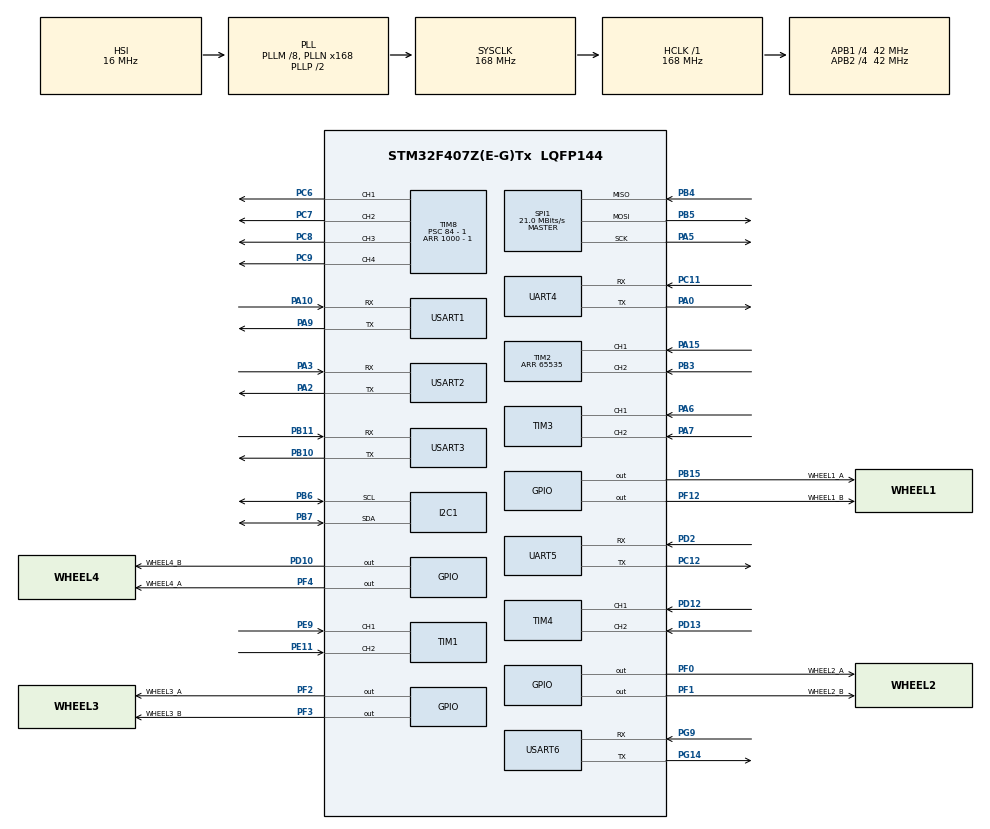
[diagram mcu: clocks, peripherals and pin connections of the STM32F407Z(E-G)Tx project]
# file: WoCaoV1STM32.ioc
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Mcu.Family=STM32F4
Mcu.Name=STM32F407Z(E-G)Tx
Mcu.Package=LQFP144
NVIC.PriorityGroup=NVIC_PRIORITYGROUP_4
NVIC.TIM6_DAC_IRQn=true\:0\:0\:false\:false\:true\:true\:true
NVIC.USART1_IRQn=true\:0\:0\:false\:false\:true\:true\:true
PA0-WKUP.Mode=Asynchronous
PA0-WKUP.Signal=UART4_TX
PA10.Mode=Asynchronous
PA10.Signal=USART1_RX
PA13.Mode=Serial_Wire
PA13.Signal=SYS_JTMS-SWDIO
PA14.Mode=Serial_Wire
PA14.Signal=SYS_JTCK-SWCLK
PA15.Signal=S_TIM2_CH1_ETR
PA2.Mode=Asynchronous
PA2.Signal=USART2_TX
PA3.Mode=Asynchronous
PA3.Signal=USART2_RX
PA5.Mode=Full_Duplex_Master
PA5.Signal=SPI1_SCK
PA6.Signal=S_TIM3_CH1
PA7.Signal=S_TIM3_CH2
PA9.Mode=Asynchronous
PA9.Signal=USART1_TX
PB10.Mode=Asynchronous
PB10.Signal=USART3_TX
PB11.Mode=Asynchronous
PB11.Signal=USART3_RX
PB15.GPIO_Label=WHEEL1_A
PB15.GPIO_Speed=GPIO_SPEED_FREQ_VERY_HIGH
PB15.Signal=GPIO_Output
PB3.Signal=S_TIM2_CH2
PB4.Mode=Full_Duplex_Master
PB4.Signal=SPI1_MISO
PB5.Mode=Full_Duplex_Master
PB5.Signal=SPI1_MOSI
PB6.Mode=I2C
PB6.Signal=I2C1_SCL
PB7.Mode=I2C
PB7.Signal=I2C1_SDA
PC11.Mode=Asynchronous
PC11.Signal=UART4_RX
PC12.Mode=Asynchronous
PC12.Signal=UART5_TX
PC6.Signal=S_TIM8_CH1
PC7.Signal=S_TIM8_CH2
PC8.Signal=S_TIM8_CH3
PC9.Signal=S_TIM8_CH4
PD10.GPIO_Label=WHEEL4_B
PD10.GPIO_Speed=GPIO_SPEED_FREQ_VERY_HIGH
PD10.Signal=GPIO_Output
PD12.Signal=S_TIM4_CH1
PD13.Signal=S_TIM4_CH2
PD2.Mode=Asynchronous
PD2.Signal=UART5_RX
PE11.Signal=S_TIM1_CH2
PE9.Signal=S_TIM1_CH1
PF0.GPIO_Label=WHEEL2_A
PF0.GPIO_Speed=GPIO_SPEED_FREQ_VERY_HIGH
PF0.Signal=GPIO_Output
PF1.GPIO_Label=WHEEL2_B
PF1.GPIO_Speed=GPIO_SPEED_FREQ_VERY_HIGH
PF1.Signal=GPIO_Output
PF12.GPIO_Label=WHEEL1_B
PF12.GPIO_Speed=GPIO_SPEED_FREQ_VERY_HIGH
PF12.Signal=GPIO_Output
PF2.GPIO_Label=WHEEL3_A
PF2.GPIO_Speed=GPIO_SPEED_FREQ_VERY_HIGH
PF2.Signal=GPIO_Output
PF3.GPIO_Label=WHEEL3_B
PF3.GPIO_Speed=GPIO_SPEED_FREQ_VERY_HIGH
PF3.Signal=GPIO_Output
PF4.GPIO_Label=WHEEL4_A
PF4.GPIO_Speed=GPIO_SPEED_FREQ_VERY_HIGH
PF4.Signal=GPIO_Output
PG14.Mode=Asynchronous
PG14.Signal=USART6_TX
PG9.Mode=Asynchronous
PG9.Signal=USART6_RX
PH0-OSC_IN.Mode=HSE-External-Oscillator
PH0-OSC_IN.Signal=RCC_OSC_IN
PH1-OSC_OUT.Mode=HSE-External-Oscillator
PH1-OSC_OUT.Signal=RCC_OSC_OUT
ProjectManager.HeapSize=0x200
ProjectManager.StackSize=0x400
ProjectManager.TargetToolchain=STM32CubeIDE
RCC.48MHZClocksFreq_Value=84000000
RCC.AHBFreq_Value=168000000
RCC.APB1CLKDivider=RCC_HCLK_DIV4
RCC.APB1Freq_Value=42000000
RCC.APB1TimFreq_Value=84000000
RCC.APB2CLKDivider=RCC_HCLK_DIV4
RCC.APB2Freq_Value=42000000
RCC.APB2TimFreq_Value=84000000
RCC.CortexFreq_Value=168000000
RCC.HCLKFreq_Value=168000000
RCC.HSE_VALUE=25000000
RCC.HSI_VALUE=16000000
RCC.LSE_VALUE=32768
RCC.PLLM=8
RCC.PLLN=168
RCC.SYSCLKFreq_VALUE=168000000
RCC.SYSCLKSource=RCC_SYSCLKSOURCE_PLLCLK
RCC.VCOOutputFreq_Value=336000000
SH.S_TIM1_CH1.0=TIM1_CH1,Encoder_Interface
SH.S_TIM1_CH2.0=TIM1_CH2,Encoder_Interface
SH.S_TIM2_CH1_ETR.0=TIM2_CH1,Encoder_Interface
SH.S_TIM2_CH2.0=TIM2_CH2,Encoder_Interface
SH.S_TIM3_CH1.0=TIM3_CH1,Encoder_Interface
SH.S_TIM3_CH2.0=TIM3_CH2,Encoder_Interface
SH.S_TIM4_CH1.0=TIM4_CH1,Encoder_Interface
SH.S_TIM4_CH2.0=TIM4_CH2,Encoder_Interface
SH.S_TIM8_CH1.0=TIM8_CH1,PWM Generation1 CH1
SH.S_TIM8_CH2.0=TIM8_CH2,PWM Generation2 CH2
SH.S_TIM8_CH3.0=TIM8_CH3,PWM Generation3 CH3
SH.S_TIM8_CH4.0=TIM8_CH4,PWM Generation4 CH4
SPI1.CalculateBaudRate=21.0 MBits/s
SPI1.Direction=SPI_DIRECTION_2LINES
SPI1.Mode=SPI_MODE_MASTER
SPI1.VirtualType=VM_MASTER
TIM1.EncoderMode=TIM_ENCODERMODE_TI12
TIM2.EncoderMode=TIM_ENCODERMODE_TI12
TIM2.Period=65535
TIM3.EncoderMode=TIM_ENCODERMODE_TI12
TIM4.EncoderMode=TIM_ENCODERMODE_TI12
TIM6.Period=5000 - 1
TIM6.Prescaler=84 - 1
TIM8.Channel-PWM\ Generation1\ CH1=TIM_CHANNEL_1
TIM8.Channel-PWM\ Generation2\ CH2=TIM_CHANNEL_2
TIM8.Channel-PWM\ Generation3\ CH3=TIM_CHANNEL_3
TIM8.Channel-PWM\ Generation4\ CH4=TIM_CHANNEL_4
TIM8.Period=1000 - 1
TIM8.Prescaler=84 - 1
UART4.VirtualMode=Asynchronous
UART5.VirtualMode=Asynchronous
USART1.VirtualMode=VM_ASYNC
USART2.VirtualMode=VM_ASYNC
USART3.VirtualMode=VM_ASYNC
USART6.VirtualMode=VM_ASYNC
VP_TIM6_VS_ClockSourceINT.Mode=Enable_Timer
VP_TIM8_VS_ClockSourceINT.Mode=Internal
board=custom

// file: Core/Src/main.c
/* USER CODE BEGIN Header */
/**
  ******************************************************************************
  * @file           : main.c
  * @brief          : Main program body
  ******************************************************************************
  * @attention
  *
  * Copyright (c) 2023 STMicroelectronics.
  * All rights reserved.
  *
  * This software is licensed under terms that can be found in the LICENSE file
  * in the root directory of this software component.
  * If no LICENSE file comes with this software, it is provided AS-IS.
  *
  ******************************************************************************
  */
#include "string.h"
#include "stdio.h"
/* USER CODE END Header */
#include "main.h"
#include "i2c.h"
#include "spi.h"
#include "tim.h"
#include "usart.h"
#include "gpio.h"

void SystemClock_Config(void);

/* USER CODE BEGIN 0 */

//Mecanum

struct WheelPWM
{
    double speed;
    double target;
    double minPWM;
    double maxPWM;
    double kp;
    double ki;
    double kd;
    double error;
    double lastError;
    double errorI;
    double pwm;
}wheelPWM1, wheelPWM2, wheelPWM3, wheelPWM4;

struct RobotInfo
{
    double xPos;
    double yPos;
    double angle;
    double wheel1Speed;
    double wheel2Speed;
    double wheel3Speed;
    double wheel4Speed;
    double rXSpeed;
    double rYSpeed;
}robotInfo;

void ClearSpeed()
{
    robotInfo.wheel1Speed = 0;
    robotInfo.wheel2Speed = 0;
    robotInfo.wheel3Speed = 0;
    robotInfo.wheel4Speed = 0;
    robotInfo.rXSpeed = 0;
    robotInfo.rYSpeed = 0;
}

void MoveForward(double speed)
{
    robotInfo.wheel1Speed += speed;
    robotInfo.wheel2Speed += -speed;
    robotInfo.wheel3Speed += -speed;
    robotInfo.wheel4Speed += speed;
}

void MoveBackward(double speed)
{
    robotInfo.wheel1Speed += -speed;
    robotInfo.wheel2Speed += speed;
    robotInfo.wheel3Speed += speed;
    robotInfo.wheel4Speed += -speed;
}

void MoveLeft(double speed)
{
    robotInfo.wheel1Speed += -speed;
    robotInfo.wheel2Speed += -speed;
    robotInfo.wheel3Speed += speed;
    robotInfo.wheel4Speed += speed;
}

void MoveRight(double speed)
{
    robotInfo.wheel1Speed += speed;
    robotInfo.wheel2Speed += speed;
    robotInfo.wheel3Speed += -speed;
    robotInfo.wheel4Speed += -speed;
}

void SpinLeft(double speed)
{
    robotInfo.wheel1Speed += -speed;
    robotInfo.wheel2Speed += -speed;
    robotInfo.wheel3Speed += -speed;
    robotInfo.wheel4Speed += -speed;
}

void SpinRight(double speed)
{
    robotInfo.wheel1Speed += speed;
    robotInfo.wheel2Speed += speed;
    robotInfo.wheel3Speed += speed;
    robotInfo.wheel4Speed += speed;
}

void CommitSpeed()
{
    wheelPWM1.target = robotInfo.wheel1Speed;
    wheelPWM2.target = robotInfo.wheel2Speed;
    wheelPWM3.target = robotInfo.wheel3Speed;
    wheelPWM4.target = robotInfo.wheel4Speed;
}

void PID_Init()
{
    wheelPWM1.target = 0;
    wheelPWM1.minPWM = -1000;
    wheelPWM1.maxPWM = 1000;
    wheelPWM1.kp = 15;
    wheelPWM1.ki = 4;
    wheelPWM1.kd = 0;

    wheelPWM2.target = 0;
    wheelPWM2.minPWM = -1000;
    wheelPWM2.maxPWM = 1000;
    wheelPWM2.kp = 15;
    wheelPWM2.ki = 4;
    wheelPWM2.kd = 0;

    wheelPWM3.target = 0;
    wheelPWM3.minPWM = -1000;
    wheelPWM3.maxPWM = 1000;
    wheelPWM3.kp = 15;
    wheelPWM3.ki = 4;
    wheelPWM3.kd = 0;

    wheelPWM4.target = 0;
    wheelPWM4.minPWM = -1000;
    wheelPWM4.maxPWM = 1000;
    wheelPWM4.kp = 15;
    wheelPWM4.ki = 4;
    wheelPWM4.kd = 0;
}

void Do_PID(struct WheelPWM* wheelPWM)
{
    wheelPWM->lastError = wheelPWM->error;
    wheelPWM->error = wheelPWM->target - wheelPWM->speed;
    wheelPWM->errorI += wheelPWM->error;
    double pwm = wheelPWM->kp * wheelPWM->error + wheelPWM->ki * wheelPWM->errorI + wheelPWM->kd * (wheelPWM->error - wheelPWM->lastError);
    if (pwm > wheelPWM->maxPWM) pwm = wheelPWM->maxPWM;
    if (pwm < wheelPWM->minPWM) pwm = wheelPWM->minPWM;
    wheelPWM->pwm = pwm;
}

void PID_Tick()
{
    wheelPWM1.speed = (short) __HAL_TIM_GET_COUNTER(&htim1);
    __HAL_TIM_SET_COUNTER(&htim1, 0);

    wheelPWM2.speed = (short) __HAL_TIM_GET_COUNTER(&htim2);
    __HAL_TIM_SET_COUNTER(&htim2, 0);

    wheelPWM3.speed = (short) __HAL_TIM_GET_COUNTER(&htim3);
    __HAL_TIM_SET_COUNTER(&htim3, 0);

    wheelPWM4.speed = (short) __HAL_TIM_GET_COUNTER(&htim4);
    __HAL_TIM_SET_COUNTER(&htim4, 0);

    Do_PID(&wheelPWM1);
    if (wheelPWM1.pwm > 0) {
        HAL_GPIO_WritePin(WHEEL1_A_GPIO_Port, WHEEL1_A_Pin, GPIO_PIN_RESET);
        HAL_GPIO_WritePin(WHEEL1_B_GPIO_Port, WHEEL1_B_Pin, GPIO_PIN_SET);
        __HAL_TIM_SET_COMPARE(&htim8, TIM_CHANNEL_1, wheelPWM1.pwm);
    } else if (wheelPWM1.pwm < 0) {
        HAL_GPIO_WritePin(WHEEL1_A_GPIO_Port, WHEEL1_A_Pin, GPIO_PIN_SET);
        HAL_GPIO_WritePin(WHEEL1_B_GPIO_Port, WHEEL1_B_Pin, GPIO_PIN_RESET);
        __HAL_TIM_SET_COMPARE(&htim8, TIM_CHANNEL_1, -wheelPWM1.pwm);
    } else {
        HAL_GPIO_WritePin(WHEEL1_A_GPIO_Port, WHEEL1_A_Pin, GPIO_PIN_RESET);
        HAL_GPIO_WritePin(WHEEL1_B_GPIO_Port, WHEEL1_B_Pin, GPIO_PIN_RESET);
        __HAL_TIM_SET_COMPARE(&htim8, TIM_CHANNEL_1, 0);
    }

    Do_PID(&wheelPWM2);
    if (wheelPWM2.pwm > 0) {
        HAL_GPIO_WritePin(WHEEL2_A_GPIO_Port, WHEEL2_A_Pin, GPIO_PIN_RESET);
        HAL_GPIO_WritePin(WHEEL2_B_GPIO_Port, WHEEL2_B_Pin, GPIO_PIN_SET);
        __HAL_TIM_SET_COMPARE(&htim8, TIM_CHANNEL_2, wheelPWM2.pwm);
    } else if (wheelPWM2.pwm < 0) {
        HAL_GPIO_WritePin(WHEEL2_A_GPIO_Port, WHEEL2_A_Pin, GPIO_PIN_SET);
        HAL_GPIO_WritePin(WHEEL2_B_GPIO_Port, WHEEL2_B_Pin, GPIO_PIN_RESET);
        __HAL_TIM_SET_COMPARE(&htim8, TIM_CHANNEL_2, -wheelPWM2.pwm);
    } else {
        HAL_GPIO_WritePin(WHEEL2_A_GPIO_Port, WHEEL2_A_Pin, GPIO_PIN_RESET);
        HAL_GPIO_WritePin(WHEEL2_B_GPIO_Port, WHEEL2_B_Pin, GPIO_PIN_RESET);
        __HAL_TIM_SET_COMPARE(&htim8, TIM_CHANNEL_2, 0);
    }

    Do_PID(&wheelPWM3);
    if (wheelPWM3.pwm > 0) {
        HAL_GPIO_WritePin(WHEEL3_A_GPIO_Port, WHEEL3_A_Pin, GPIO_PIN_RESET);
        HAL_GPIO_WritePin(WHEEL3_B_GPIO_Port, WHEEL3_B_Pin, GPIO_PIN_SET);
        __HAL_TIM_SET_COMPARE(&htim8, TIM_CHANNEL_3, wheelPWM3.pwm);
    } else if (wheelPWM3.pwm < 0) {
        HAL_GPIO_WritePin(WHEEL3_A_GPIO_Port, WHEEL3_A_Pin, GPIO_PIN_SET);
        HAL_GPIO_WritePin(WHEEL3_B_GPIO_Port, WHEEL3_B_Pin, GPIO_PIN_RESET);
        __HAL_TIM_SET_COMPARE(&htim8, TIM_CHANNEL_3, -wheelPWM3.pwm);
    } else {
        HAL_GPIO_WritePin(WHEEL3_A_GPIO_Port, WHEEL3_A_Pin, GPIO_PIN_RESET);
        HAL_GPIO_WritePin(WHEEL3_B_GPIO_Port, WHEEL3_B_Pin, GPIO_PIN_RESET);
        __HAL_TIM_SET_COMPARE(&htim8, TIM_CHANNEL_3, 0);
    }

    Do_PID(&wheelPWM4);
    if (wheelPWM4.pwm > 0) {
        HAL_GPIO_WritePin(WHEEL4_A_GPIO_Port, WHEEL4_A_Pin, GPIO_PIN_RESET);
        HAL_GPIO_WritePin(WHEEL4_B_GPIO_Port, WHEEL4_B_Pin, GPIO_PIN_SET);
        __HAL_TIM_SET_COMPARE(&htim8, TIM_CHANNEL_4, wheelPWM4.pwm);
    } else if (wheelPWM4.pwm < 0) {
        HAL_GPIO_WritePin(WHEEL4_A_GPIO_Port, WHEEL4_A_Pin, GPIO_PIN_SET);
        HAL_GPIO_WritePin(WHEEL4_B_GPIO_Port, WHEEL4_B_Pin, GPIO_PIN_RESET);
        __HAL_TIM_SET_COMPARE(&htim8, TIM_CHANNEL_4, -wheelPWM4.pwm);
    } else {
        HAL_GPIO_WritePin(WHEEL4_A_GPIO_Port, WHEEL4_A_Pin, GPIO_PIN_RESET);
        HAL_GPIO_WritePin(WHEEL4_B_GPIO_Port, WHEEL4_B_Pin, GPIO_PIN_RESET);
        __HAL_TIM_SET_COMPARE(&htim8, TIM_CHANNEL_4, 0);
    }

}

void HAL_TIM_PeriodElapsedCallback(TIM_HandleTypeDef* htim)
{
    if (htim->Instance == TIM6) {
        PID_Tick();
    }
}

/* USER CODE END 0 */

int main(void)
{

  /* MCU Configuration--------------------------------------------------------*/

  /* Reset of all peripherals, Initializes the Flash interface and the Systick. */
  HAL_Init();

  /* Configure the system clock */
  SystemClock_Config();

  /* Initialize all configured peripherals */
  MX_GPIO_Init();
  MX_TIM1_Init();
  MX_TIM2_Init();
  MX_TIM3_Init();
  MX_TIM4_Init();
  MX_TIM6_Init();
  MX_USART1_UART_Init();
  MX_TIM8_Init();
  MX_I2C1_Init();
  MX_SPI1_Init();
  MX_UART4_Init();
  MX_UART5_Init();
  MX_USART2_UART_Init();
  MX_USART3_UART_Init();
  MX_USART6_UART_Init();
  /* USER CODE BEGIN 2 */

    PID_Init();
    HAL_TIM_Base_Start_IT(&htim6);

    HAL_TIM_Encoder_Start(&htim1, TIM_CHANNEL_1 | TIM_CHANNEL_2);
    HAL_TIM_Encoder_Start(&htim2, TIM_CHANNEL_1 | TIM_CHANNEL_2);
    HAL_TIM_Encoder_Start(&htim3, TIM_CHANNEL_1 | TIM_CHANNEL_2);
    HAL_TIM_Encoder_Start(&htim4, TIM_CHANNEL_1 | TIM_CHANNEL_2);

    HAL_TIM_PWM_Start(&htim8, TIM_CHANNEL_1);
    HAL_TIM_PWM_Start(&htim8, TIM_CHANNEL_2);
    HAL_TIM_PWM_Start(&htim8, TIM_CHANNEL_3);
    HAL_TIM_PWM_Start(&htim8, TIM_CHANNEL_4);

    ClearSpeed();
    CommitSpeed();

  /* USER CODE END 2 */

  /* Infinite loop */
  /* USER CODE BEGIN WHILE */
  while (1)
  {

      char buff[64] = {0};
      snprintf(buff, 64, "speed:%.2lf pwm:%.2lf\r\n", wheelPWM2.speed, wheelPWM2.pwm);
      HAL_UART_Transmit(&huart1, buff, strlen(buff), 100);
      HAL_Delay(50);

    /* USER CODE END WHILE */

  }
}

void SystemClock_Config(void)
{
  RCC_OscInitTypeDef RCC_OscInitStruct = {0};
  RCC_ClkInitTypeDef RCC_ClkInitStruct = {0};

  /** Configure the main internal regulator output voltage
  */
  __HAL_RCC_PWR_CLK_ENABLE();
  __HAL_PWR_VOLTAGESCALING_CONFIG(PWR_REGULATOR_VOLTAGE_SCALE1);
  /** Initializes the RCC Oscillators according to the specified parameters
  * in the RCC_OscInitTypeDef structure.
  */
  RCC_OscInitStruct.OscillatorType = RCC_OSCILLATORTYPE_HSI;
  RCC_OscInitStruct.HSIState = RCC_HSI_ON;
  RCC_OscInitStruct.HSICalibrationValue = RCC_HSICALIBRATION_DEFAULT;
  RCC_OscInitStruct.PLL.PLLState = RCC_PLL_ON;
  RCC_OscInitStruct.PLL.PLLSource = RCC_PLLSOURCE_HSI;
  RCC_OscInitStruct.PLL.PLLM = 8;
  RCC_OscInitStruct.PLL.PLLN = 168;
  RCC_OscInitStruct.PLL.PLLP = RCC_PLLP_DIV2;
  RCC_OscInitStruct.PLL.PLLQ = 4;
  if (HAL_RCC_OscConfig(&RCC_OscInitStruct) != HAL_OK)
  {
    Error_Handler();
  }
  /** Initializes the CPU, AHB and APB buses clocks
  */
  RCC_ClkInitStruct.ClockType = RCC_CLOCKTYPE_HCLK|RCC_CLOCKTYPE_SYSCLK
                              |RCC_CLOCKTYPE_PCLK1|RCC_CLOCKTYPE_PCLK2;
  RCC_ClkInitStruct.SYSCLKSource = RCC_SYSCLKSOURCE_PLLCLK;
  RCC_ClkInitStruct.AHBCLKDivider = RCC_SYSCLK_DIV1;
  RCC_ClkInitStruct.APB1CLKDivider = RCC_HCLK_DIV4;
  RCC_ClkInitStruct.APB2CLKDivider = RCC_HCLK_DIV4;

  if (HAL_RCC_ClockConfig(&RCC_ClkInitStruct, FLASH_LATENCY_5) != HAL_OK)
  {
    Error_Handler();
  }
}

void Error_Handler(void)
{
  __disable_irq();
  while (1)
  {
  }
}
